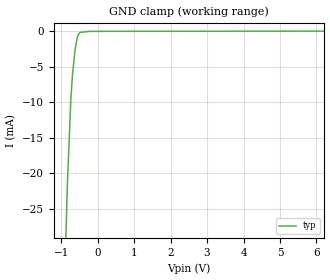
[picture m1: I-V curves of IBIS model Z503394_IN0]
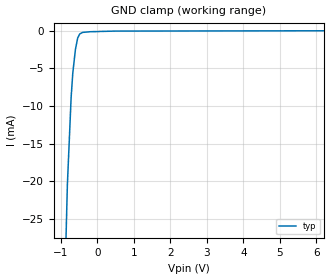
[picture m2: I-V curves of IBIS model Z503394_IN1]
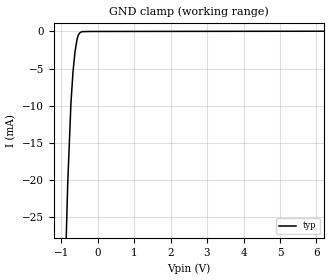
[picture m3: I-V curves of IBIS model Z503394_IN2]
| YOU ARE ONLY AUTHORIZED TO USE THIS SOFTWARE
| ACCORDING TO LICENSOR'S LICENSE RESTRICTIONS.
[IBIS Ver] 3.1
[File Name] mc100h642fn_pecl.ibs
[File Rev] 2.0
[Source] Measured and created by ICX Technology
[Date] Friday 7/14/00 9:07:48 AM
[Copyright]
| (C) COPYRIGHT 1993-2000
| MENTOR GRAPHICS CORPORATION
| ICX STANDARD LIBRARY, ICX PROJECT MODELING,
| ICX CUSTOM MODELING, ICX VENDOR MODEL
| ALL RIGHTS RESERVED.
| THE FOLLOWING ARE TRADEMARKS OR SERVICE MARKS OF
| MENTOR GRAPHICS CORPORATION:ICX (R), ICX STANDARD
| LIBRARY(R), ICX PROJECT MODELING(R), ICX CUSTOM
| MODELING(R), qualityIBIS(TM), MODELVIEWER(TM),
| AND MODELEDITOR(TM)
| ALL COPIES OF SOFTWARE, INCLUDING BUT NOT LIMITED TO
| ANY MODIFICATIONS, ENHANCEMENTS OR DERIVATIVE WORKS,
| MUST CONTAIN ALL MENTOR GRAPHICS CORPORATION'S
| NOTICES AND LEGENDS, INCLUDING THOSE EMBEDDED IN
| SOFTWARE AND THOSE AFFIXED TO SOFTWARE MEDIUM
| AND CONTAINER, AS RECEIVED FROM MENTOR GRAPHICS
| CORPORATION.
|  ZAP Model Builder 2.7
[Component] MC100H642FN_PECL
[Manufacturer] OnSemiconductor
[Package]
| variable   typ   min   max
R_pkg  .083ohms NA NA
L_pkg  4.299nH NA NA
C_pkg  1.045pF NA NA
[Pin] signal_name  model_name  R_pin  L_pin C_pin
1 Q3 Z503394_OUT0 .08 3.94n .925p
2 VCC POWER .082 4.14n .995p
3 VCC POWER .084 4.354n 1.065p
4 Q4 Z503394_OUT0 .086 4.583n 1.135p
5 Q5 Z503394_OUT0 .086 4.583n 1.135p
6 GROUND GND .084 4.354n 1.065p
7 GROUND GND .082 4.14n .995p
8 Q6 Z503394_OUT0 .08 3.94n .925p
9 Q7 Z503394_OUT0 .082 4.14n .995p
10 VCC POWER .084 4.354n 1.065p
11 SEL Z503394_IN0 .086 4.583n 1.135p
12 DT Z503394_IN1 .086 4.583n 1.135p
13 GROUND GND .084 4.354n 1.065p
14 _R Z503394_IN2 .082 4.14n .995p
15 VCC POWER .08 3.94n .925p
16 DE Z503394_IN3 .082 4.14n .995p
17 _DE Z503394_IN3 .084 4.354n 1.065p
18 VBB POWER .086 4.583n 1.135p
19 VCC POWER .086 4.583n 1.135p
20 Q0 Z503394_OUT1 .084 4.354n 1.065p
21 GROUND GND .082 4.14n .995p
22 GROUND GND .08 3.94n .925p
23 Q1 Z503394_OUT1 .082 4.14n .995p
24 VCC POWER .084 4.354n 1.065p
25 VCC POWER .086 4.583n 1.135p
26 Q2 Z503394_OUT0 .086 4.583n 1.135p
27 GROUND GND .084 4.354n 1.065p
28 GROUND GND .082 4.14n .995p
| Models and submodels in the file (6): Z503394_IN0 (Input), Z503394_IN1 (Input), Z503394_IN2 (Input), Z503394_IN3 (Input), Z503394_OUT0 (Output), Z503394_OUT1 (Output)
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| (C) COPYRIGHT 1993-2000
| MENTOR GRAPHICS CORPORATION
| ICX STANDARD LIBRARY, ICX PROJECT MODELING,
| ICX CUSTOM MODELING, ICX VENDOR MODEL
| ALL RIGHTS RESERVED.
| THE FOLLOWING ARE TRADEMARKS OR SERVICE MARKS OF
| MENTOR GRAPHICS CORPORATION:ICX (R), ICX STANDARD
| LIBRARY(R), ICX PROJECT MODELING(R), ICX CUSTOM
| MODELING(R), qualityIBIS(TM), MODELVIEWER(TM),
| AND MODELEDITOR(TM)
| ALL COPIES OF SOFTWARE, INCLUDING BUT NOT LIMITED TO
| ANY MODIFICATIONS, ENHANCEMENTS OR DERIVATIVE WORKS,
| MUST CONTAIN ALL MENTOR GRAPHICS CORPORATION'S
| NOTICES AND LEGENDS, INCLUDING THOSE EMBEDDED IN
| SOFTWARE AND THOSE AFFIXED TO SOFTWARE MEDIUM
| AND CONTAINER, AS RECEIVED FROM MENTOR GRAPHICS
| CORPORATION.
| Model Application Version 1.89 2/18/99.
[Model] Z503394_IN0
Model_type Input
Vinl = 3.525V
Vinh = 3.835V
C_comp 4.000pF NA NA
| variable typ   min   max
[Voltage Range] 5.000V NA NA
[GND Clamp Reference] 0.000V NA NA
[POWER Clamp Reference] 5.000V NA NA
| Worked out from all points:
|   GND clamp passes 1 mA (typ) near -0.56 V on its own axis
[GND Clamp]
-5V       -786.2mA   NA         NA
-828.2mV  -21.51mA   NA         NA
-732.3mV  -9.445mA   NA         NA
-688mV    -6.09mA    NA         NA
-620mV    -2.682mA   NA         NA
-560.3mV  -957.6uA   NA         NA
-527.2mV  -441.5uA   NA         NA
-483.7mV  -167.8uA   NA         NA
-241.9mV  -19.1uA    NA         NA
307.7mV   -2.6uA     NA         NA
10V       26.7uA     NA         NA
[POWER Clamp]
-5V       0A         NA         NA
10V       0A         NA         NA
| (C) COPYRIGHT 1993-2000
| MENTOR GRAPHICS CORPORATION
| ICX STANDARD LIBRARY, ICX PROJECT MODELING,
| ICX CUSTOM MODELING, ICX VENDOR MODEL
| ALL RIGHTS RESERVED.
| THE FOLLOWING ARE TRADEMARKS OR SERVICE MARKS OF
| MENTOR GRAPHICS CORPORATION:ICX (R), ICX STANDARD
| LIBRARY(R), ICX PROJECT MODELING(R), ICX CUSTOM
| MODELING(R), qualityIBIS(TM), MODELVIEWER(TM),
| AND MODELEDITOR(TM)
| ALL COPIES OF SOFTWARE, INCLUDING BUT NOT LIMITED TO
| ANY MODIFICATIONS, ENHANCEMENTS OR DERIVATIVE WORKS,
| MUST CONTAIN ALL MENTOR GRAPHICS CORPORATION'S
| NOTICES AND LEGENDS, INCLUDING THOSE EMBEDDED IN
| SOFTWARE AND THOSE AFFIXED TO SOFTWARE MEDIUM
| AND CONTAINER, AS RECEIVED FROM MENTOR GRAPHICS
| CORPORATION.
| Model Application Version 1.89 2/18/99.
[Model] Z503394_IN1
Model_type Input
Vinl = 3.525V
Vinh = 3.835V
C_comp 4.000pF NA NA
| variable typ   min   max
[Voltage Range] 5.000V NA NA
[GND Clamp Reference] 0.000V NA NA
[POWER Clamp Reference] 5.000V NA NA
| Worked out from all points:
|   GND clamp passes 1 mA (typ) near -0.54 V on its own axis
[GND Clamp]
-5V       -808mA     NA         NA
-820.3mV  -20.44mA   NA         NA
-717.7mV  -8.839mA   NA         NA
-672.5mV  -5.624mA   NA         NA
-601.2mV  -2.499mA   NA         NA
-540mV    -962.7uA   NA         NA
-482.9mV  -414.4uA   NA         NA
-405.7mV  -206.1uA   NA         NA
-202.8mV  -114.7uA   NA         NA
488.2mV   -27.77uA   NA         NA
10V       40.66uA    NA         NA
[POWER Clamp]
-5V       0A         NA         NA
10V       0A         NA         NA
| (C) COPYRIGHT 1993-2000
| MENTOR GRAPHICS CORPORATION
| ICX STANDARD LIBRARY, ICX PROJECT MODELING,
| ICX CUSTOM MODELING, ICX VENDOR MODEL
| ALL RIGHTS RESERVED.
| THE FOLLOWING ARE TRADEMARKS OR SERVICE MARKS OF
| MENTOR GRAPHICS CORPORATION:ICX (R), ICX STANDARD
| LIBRARY(R), ICX PROJECT MODELING(R), ICX CUSTOM
| MODELING(R), qualityIBIS(TM), MODELVIEWER(TM),
| AND MODELEDITOR(TM)
| ALL COPIES OF SOFTWARE, INCLUDING BUT NOT LIMITED TO
| ANY MODIFICATIONS, ENHANCEMENTS OR DERIVATIVE WORKS,
| MUST CONTAIN ALL MENTOR GRAPHICS CORPORATION'S
| NOTICES AND LEGENDS, INCLUDING THOSE EMBEDDED IN
| SOFTWARE AND THOSE AFFIXED TO SOFTWARE MEDIUM
| AND CONTAINER, AS RECEIVED FROM MENTOR GRAPHICS
| CORPORATION.
| Model Application Version 1.89 2/18/99.
[Model] Z503394_IN2
Model_type Input
Vinl = 3.525V
Vinh = 3.835V
C_comp 4.000pF NA NA
| variable typ   min   max
[Voltage Range] 5.000V NA NA
[GND Clamp Reference] 0.000V NA NA
[POWER Clamp Reference] 5.000V NA NA
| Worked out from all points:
|   GND clamp passes 1 mA (typ) near -0.56 V on its own axis
[GND Clamp]
-5V       -762.2mA   NA         NA
-819.3mV  -20.54mA   NA         NA
-730.5mV  -9.617mA   NA         NA
-673.9mV  -5.428mA   NA         NA
-619.7mV  -2.761mA   NA         NA
-559.6mV  -999.8uA   NA         NA
-527mV    -473.4uA   NA         NA
-483.6mV  -190.3uA   NA         NA
-428.3mV  -48.36uA   NA         NA
-214.1mV  -20.38uA   NA         NA
10V       32.34uA    NA         NA
[POWER Clamp]
-5V       0A         NA         NA
10V       0A         NA         NA
